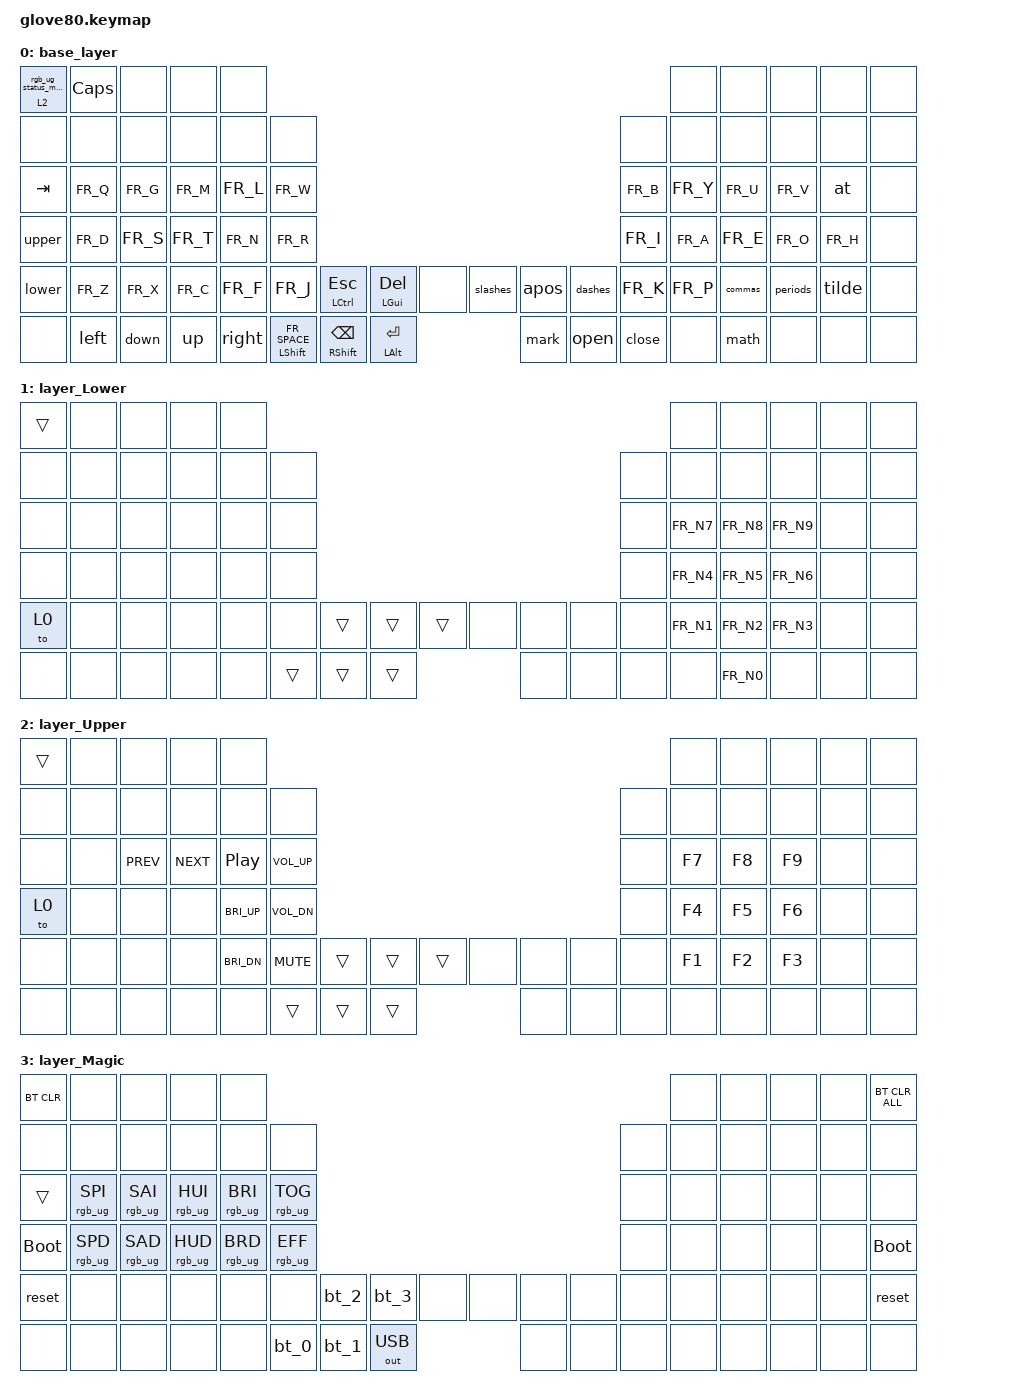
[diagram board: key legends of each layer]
#include <dt-bindings/zmk/outputs.h>
#include <dt-bindings/zmk/keys.h>
#include <dt-bindings/zmk/bt.h>
#include <dt-bindings/zmk/rgb.h>
#include <dt-bindings/zmk/outputs.h>
#include "keys_fr.h"
#include "helper.h"
#include "unicode_fr.dtsi"
#include <behaviors.dtsi>

/ {
    /* Glove80 system behavior & macros */

    behaviors {
        #include "behaviors.dtsi"
    };
    
    macros {
        #include "macros.dtsi"
    };
        
    magic: magic_hold_tap {
        compatible = "zmk,behavior-hold-tap";
        label = "MAGIC_HOLD_TAP";
        #binding-cells = <2>;
        flavor = "tap-preferred";
        tapping-term-ms = <200>;
        bindings = <&mo>, <&rgb_ug_status_macro>;
    };

    /* Automatically generated keymap */
    keymap {
        compatible = "zmk,keymap";


base_layer {
            bindings = <
     &magic 2 0 &kp CAPS  &none    &none    &none                                                                                                         &none    &none     &none    &none    &none
     &none      &none     &none    &none    &none     &none                                                                                      &none    &none    &none     &none    &none    &none
     &kp TAB    &kp FR_Q  &kp FR_G &kp FR_M &kp FR_L  &kp FR_W                                                                                   &kp FR_B &kp FR_Y &kp FR_U  &kp FR_V &at      &none
     &upper     &kp FR_D  &kp FR_S &kp FR_T &kp FR_N  &kp FR_R                                                                                   &kp FR_I &kp FR_A &kp FR_E  &kp FR_O &kp FR_H &none
     &lower     &kp FR_Z  &kp FR_X &kp FR_C &kp FR_F  &kp FR_J  &mt LCTRL ESC   &mt LGUI DEL        &none          &slashes  &apos   &dashes  &kp FR_K &kp FR_P &commas   &periods &tilde  &none
     &none      &left     &down    &up      &right              &mt LSHFT FR_SPACE &mt RSHFT BACKSPACE &mt LALT RET   &mark     &open   &close            &none    &math     &none    &none    &none
            >;
        };

        layer_Lower {
            bindings = <
      &trans &none &none &none &none                                                             &none    &none    &none    &none  &none       
      &none  &none &none &none &none &none                                                &none  &none    &none    &none    &none  &none       
      &none  &none &none &none &none &none                                                &none  &kp FR_N7 &kp FR_N8 &kp FR_N9 &none  &none      
      &none  &none &none &none &none &none                                                &none  &kp FR_N4 &kp FR_N5 &kp FR_N6 &none  &none      
      &to 0  &none &none &none &none &none &trans &trans &trans   &none  &none  &none     &none  &kp FR_N1 &kp FR_N2 &kp FR_N3 &none  &none      
      &none  &none &none &none &none       &trans &trans &trans   &none  &none  &none            &none    &kp FR_N0 &none    &none  &none         
            >;
        };

        layer_Upper {
            bindings = <
      &trans &none &none      &none      &none                                                                       &none  &none  &none  &none &none
      &none  &none &none      &none      &none        &none                                                   &none  &none  &none  &none  &none &none
      &none  &none &kp C_PREV &kp C_NEXT &kp C_PP     &kp C_VOL_UP                                            &none  &kp F7 &kp F8 &kp F9 &none &none
      &to 0  &none &none      &none      &kp C_BRI_UP &kp C_VOL_DN                                            &none  &kp F4 &kp F5 &kp F6 &none &none
      &none  &none &none      &none      &kp C_BRI_DN &kp C_MUTE   &trans &trans &trans  &none  &none &none   &none  &kp F1 &kp F2 &kp F3 &none &none
      &none  &none &none      &none      &none                  &trans &trans &trans  &none  &none   &none           &none  &none  &none  &none &none
            >;
        };

        layer_Magic {
            bindings = <
  &bt BT_CLR            &none            &none            &none            &none                                                                                  &none   &none   &none   &none  &bt BT_CLR_ALL
       &none            &none            &none            &none            &none            &none                                                         &none   &none   &none   &none   &none           &none
      &trans  &rgb_ug RGB_SPI  &rgb_ug RGB_SAI  &rgb_ug RGB_HUI  &rgb_ug RGB_BRI  &rgb_ug RGB_TOG                                                         &none   &none   &none   &none   &none           &none
 &bootloader  &rgb_ug RGB_SPD  &rgb_ug RGB_SAD  &rgb_ug RGB_HUD  &rgb_ug RGB_BRD  &rgb_ug RGB_EFF                                                         &none   &none   &none   &none   &none     &bootloader
      &reset            &none            &none            &none            &none            &none   &bt_2   &bt_3         &none   &none   &none   &none   &none   &none   &none   &none   &none          &reset
       &none            &none            &none            &none            &none                    &bt_0   &bt_1  &out OUT_USB   &none   &none   &none           &none   &none   &none   &none           &none
            >;
        };

    };
};
